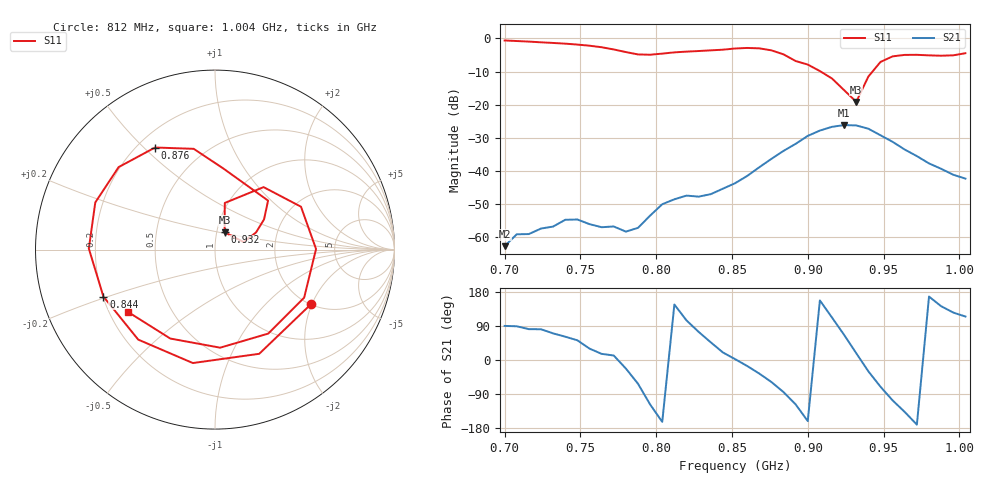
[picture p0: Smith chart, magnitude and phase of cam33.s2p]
# Hz S RI R 50
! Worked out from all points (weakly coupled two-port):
!   39 points, 700 MHz to 1.004 GHz, reference 50 ohm
!   highest |S21| = -26.17 dB at 924 MHz (marker M1); lowest = -62.7 dB at 700 MHz (marker M2)
!   lowest |S11| = -19.2 dB at 932 MHz (marker M3), VSWR 1.25, Z = 54.5 + j10.7 ohm
!   |S11| at or under -10 dB: 908.5 MHz to 942.8 MHz (34.28 MHz wide, 3.7 % of centre)
!   S12 and S22 are empty: the file has one direction only
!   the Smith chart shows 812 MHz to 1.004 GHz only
!   S11 on the Smith chart (normalised r, x): 812 MHz: 2.00, -1.97; 844 MHz: 0.20, -0.19; 876 MHz: 0.27, +0.54; 932 MHz: 1.09, +0.21; 1.004 GHz: 0.28, -0.30
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7e8  0.7657 0.5273  2.42e-07 0.000733  0 0  0 0
7.24e8  0.8319 -0.2595  0.000207 0.00134  0 0  0 0
7.4e8  0.4433 -0.7039  0.000874 0.00161  0 0  0 0
7.56e8  -0.1996 -0.7487  0.00136 0.00079  0 0  0 0
7.72e8  -0.6538 -0.1872  0.00142 0.000298  0 0  0 0
7.8e8  -0.5761 0.2328  0.00112 -0.000465  0 0  0 0
7.88e8  -0.2198 0.5282  0.000637 -0.00123  0 0  0 0
7.96e8  0.2632 0.5013  -0.000971 -0.00188  0 0  0 0
8.04e8  0.5713 0.1427  -0.00301 -0.000906  0 0  0 0
8.12e8  0.5338 -0.3051  -0.00311 0.00207  0 0  0 0
8.28e8  -0.1235 -0.632  0.00111 0.00394  0 0  0 0
8.44e8  -0.6216 -0.2617  0.00507 0.00184  0 0  0 0
8.52e8  -0.7029 0.00539  0.00651 0.000273  0 0  0 0
8.76e8  -0.3339 0.5688  0.00805 -0.0129  0 0  0 0
9e8  0.2956 0.2731  -0.032 -0.0109  0 0  0 0
9.08e8  0.2733 0.1686  -0.0375 0.0157  0 0  0 0
9.24e8  0.1599 0.0419  0.0198 0.045  0 0  0 0
9.32e8  0.0532 0.0965  0.0462 0.0149  0 0  0 0
9.48e8  0.2708 0.3481  0.0115 -0.0325  0 0  0 0
9.56e8  0.4791 0.2389  -0.00788 -0.0263  0 0  0 0
9.8e8  0.2965 -0.4679  -0.0127 0.00283  0 0  0 0
1.004e9  -0.4853 -0.3469  -0.0032 0.00696  0 0  0 0
